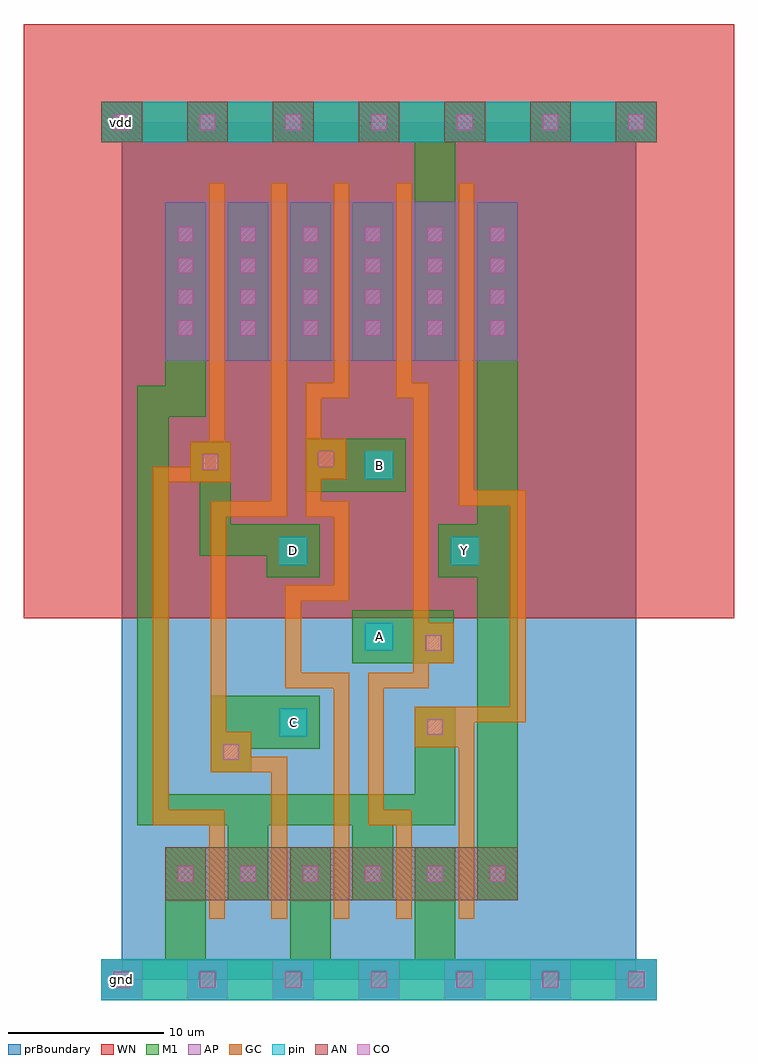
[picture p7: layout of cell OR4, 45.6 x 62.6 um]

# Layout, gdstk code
import gdstk
lib = gdstk.Library(unit=1e-6, precision=1e-09)
def R(c, l, rs):  # rectangles x0, y0, x1, y1
    for r in rs: c.add(gdstk.rectangle(r[:2], r[2:], *l))
def A(c, l, x, y, w, h, nx, ny, dx, dy):  # array of equal rectangles
    R(c, l, [(x+i*dx, y+j*dy, x+i*dx+w, y+j*dy+h) for i in range(nx) for j in range(ny)])
def P(c, l, *ps):  # polygons
    for p in ps: c.add(gdstk.Polygon(p, *l))
AP = (3, 1)
AN = (3, 2)
GC = (8, 1)
CO = (11, 0)
M1 = (13, 0)
pin = (48, 1)
WN = (140, 0)
prBoundary = (235, 0)

or4 = lib.new_cell('OR4')
A(or4, AP, -1.3, -1.3, 2.6, 2.6, 7, 1, 5.5, 0)
R(or4, AP, [(2.8,39.7,25.4,49.9), (2.8,39.7,25.4,49.9)])
A(or4, AN, -1.3, 53.7, 2.6, 2.6, 7, 1, 5.5, 0)
R(or4, AN, [(2.8,5.1,25.4,8.5)])
P(or4, GC, [(5.6,3.9),(5.6,9.9),(2,9.9),(2,32.9),(4.4,32.9),(4.4,34.5),(5.6,34.5),(5.6,51.1),(6.6,51.1),(6.6,34.5),(7,34.5),(7,31.9),(3,31.9),(3,10.9),(6.6,10.9),(6.6,3.9)],
  [(9.6,3.9),(9.6,13.3),(5.7,13.3),(5.7,30.7),(9.6,30.7),(9.6,51.1),(10.6,51.1),(10.6,29.7),(6.7,29.7),(6.7,15.9),(8.3,15.9),(8.3,14.3),(10.6,14.3),(10.6,3.9)],
  [(13.6,3.9),(13.6,18.7),(10.5,18.7),(10.5,25.3),(13.6,25.3),(13.6,29.7),(11.8,29.7),(11.8,38.3),(13.6,38.3),(13.6,51.1),(14.6,51.1),(14.6,37.3),(12.8,37.3),(12.8,34.7),(14.4,34.7),(14.4,32.1),(12.8,32.1),(12.8,30.7),(14.6,30.7),(14.6,24.3),(11.5,24.3),(11.5,19.7),(14.6,19.7),(14.6,3.9)],
  [(17.6,3.9),(17.6,9.9),(15.8,9.9),(15.8,19.7),(18.7,19.7),(18.7,37.3),(17.6,37.3),(17.6,51.1),(18.6,51.1),(18.6,38.3),(19.7,38.3),(19.7,22.9),(21.3,22.9),(21.3,20.3),(19.7,20.3),(19.7,18.7),(16.8,18.7),(16.8,10.9),(18.6,10.9),(18.6,3.9)],
  [(21.6,3.9),(21.6,14.9),(18.8,14.9),(18.8,17.5),(24.9,17.5),(24.9,30.4),(21.6,30.4),(21.6,51.1),(22.6,51.1),(22.6,31.4),(25.9,31.4),(25.9,16.5),(22.6,16.5),(22.6,3.9)])
A(or4, CO, -0.5, -0.5, 1, 1, 7, 2, 5.5, 55)
A(or4, CO, 3.6, 41.3, 1, 1, 1, 4, 0, 2)
A(or4, CO, 23.6, 41.3, 1, 1, 1, 4, 0, 2)
R(or4, CO, [(3.6,6.3,4.6,7.3), (7.6,6.3,8.6,7.3), (7.6,6.3,8.6,7.3), (11.6,6.3,12.6,7.3), (11.6,6.3,12.6,7.3), (15.6,6.3,16.6,7.3), (15.6,6.3,16.6,7.3), (19.6,6.3,20.6,7.3), (19.6,6.3,20.6,7.3), (23.6,6.3,24.6,7.3), (6.5,14.1,7.5,15.1), (19.6,15.7,20.6,16.7), (19.5,21.1,20.5,22.1), (5.2,32.7,6.2,33.7), (12.6,32.9,13.6,33.9), (7.6,41.3,8.6,42.3), (7.6,41.3,8.6,42.3), (11.6,41.3,12.6,42.3), (11.6,41.3,12.6,42.3), (15.6,41.3,16.6,42.3), (15.6,41.3,16.6,42.3), (19.6,41.3,20.6,42.3), (19.6,41.3,20.6,42.3), (7.6,43.3,8.6,44.3), (7.6,43.3,8.6,44.3), (11.6,43.3,12.6,44.3), (11.6,43.3,12.6,44.3), (15.6,43.3,16.6,44.3), (15.6,43.3,16.6,44.3), (19.6,43.3,20.6,44.3), (19.6,43.3,20.6,44.3), (7.6,45.3,8.6,46.3), (7.6,45.3,8.6,46.3), (11.6,45.3,12.6,46.3), (11.6,45.3,12.6,46.3), (15.6,45.3,16.6,46.3), (15.6,45.3,16.6,46.3), (19.6,45.3,20.6,46.3), (19.6,45.3,20.6,46.3), (7.6,47.3,8.6,48.3), (7.6,47.3,8.6,48.3), (11.6,47.3,12.6,48.3), (11.6,47.3,12.6,48.3), (15.6,47.3,16.6,48.3), (15.6,47.3,16.6,48.3), (19.6,47.3,20.6,48.3), (19.6,47.3,20.6,48.3)])
A(or4, M1, 6.8, 39.7, 2.6, 10.2, 3, 1, 4, 0)
R(or4, M1, [(14.8,20.3,21.3,23.7), (11.8,31.3,18.2,34.7)])
P(or4, M1, [(-1.3,-1.3),(-1.3,1.3),(2.8,1.3),(2.8,8.5),(5.4,8.5),(5.4,1.3),(10.8,1.3),(10.8,8.5),(13.4,8.5),(13.4,1.3),(18.8,1.3),(18.8,8.5),(21.4,8.5),(21.4,1.3),(34.3,1.3),(34.3,-1.3)],
  [(5.7,13.3),(5.7,18.2),(12.7,18.2),(12.7,14.8),(8.3,14.8),(8.3,13.3)],
  [(9.3,25.8),(9.3,27.2),(5,27.2),(5,31.9),(4.4,31.9),(4.4,34.5),(7,34.5),(7,29.2),(12.7,29.2),(12.7,25.8)],
  [(6.8,5.1),(6.8,9.9),(1,9.9),(1,38.1),(2.8,38.1),(2.8,49.9),(5.4,49.9),(5.4,36.1),(3,36.1),(3,11.9),(18.8,11.9),(18.8,17.5),(21.4,17.5),(21.4,9.9),(17.4,9.9),(17.4,5.1),(14.8,5.1),(14.8,9.9),(9.4,9.9),(9.4,5.1)],
  [(22.8,5.1),(22.8,25.8),(20.3,25.8),(20.3,29.2),(22.8,29.2),(22.8,49.9),(25.4,49.9),(25.4,5.1)],
  [(18.8,39.7),(18.8,53.7),(-1.3,53.7),(-1.3,56.3),(34.3,56.3),(34.3,53.7),(21.4,53.7),(21.4,39.7)])
R(or4, pin, [(-1.3,-1.3,34.3,1.3), (10.1,15.6,11.9,17.4), (15.6,21.1,17.4,22.9), (10.1,26.6,11.9,28.4), (21.1,26.6,22.9,28.4), (15.6,32.1,17.4,33.9), (-1.3,53.7,34.3,56.3)])
R(or4, WN, [(-6.3,23.2,39.3,61.3)])
R(or4, prBoundary, [(0,0,33,55)])
or4.add(gdstk.Label('A', (16.5,22), layer=48, texttype=0))
or4.add(gdstk.Label('B', (16.5,33), layer=48, texttype=0))
or4.add(gdstk.Label('C', (11,16.5), layer=48, texttype=0))
or4.add(gdstk.Label('D', (11,27.5), layer=48, texttype=0))
or4.add(gdstk.Label('Y', (22,27.5), layer=48, texttype=0))
or4.add(gdstk.Label('vdd', (0,55), layer=48, texttype=0))
or4.add(gdstk.Label('gnd', (0,0), layer=48, texttype=0))

lib.write_gds('OR4.gds')
